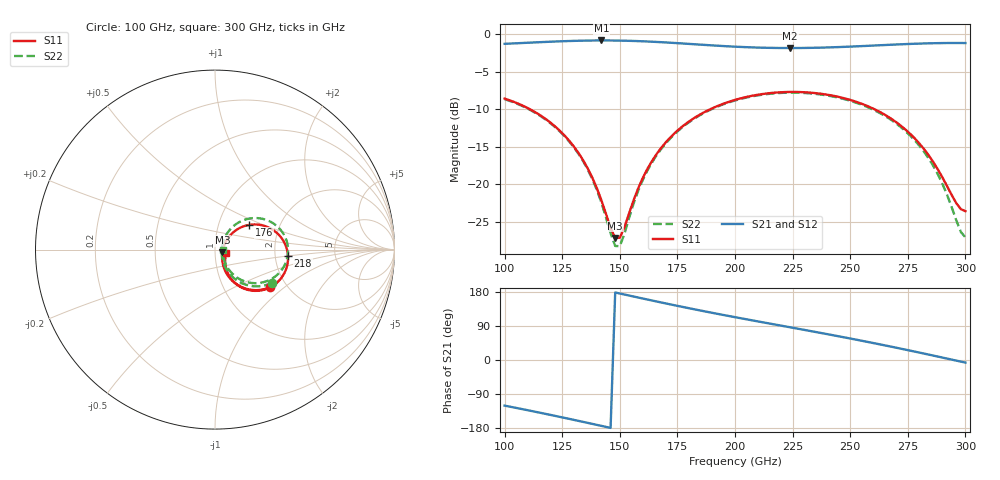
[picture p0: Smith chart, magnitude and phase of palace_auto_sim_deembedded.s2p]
! Created with skrf 1.11.0 (http://scikit-rf.org).
# GHz S DB R 50.0
!freq dBS11 angS11 dBS21 angS21 dBS12 angS12 dBS22 angS22
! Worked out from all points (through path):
!   101 points, 100 GHz to 300 GHz, reference 50 ohm
!   highest |S21| = -0.84 dB at 142 GHz (marker M1); lowest = -1.9 dB at 224 GHz (marker M2)
!   group delay of S21, straight-line fit = 3.37 ps
!   lowest |S11| = -27.2 dB at 148 GHz (marker M3), VSWR 1.09, Z = 54.2 - j1.71 ohm
!   |S11| at or under -10 dB: 110.9 GHz to 189.4 GHz (78.47 GHz wide, 52.3 % of centre); 260.4 GHz to end of sweep
!   |S22| runs from -28.3 to -7.8 dB; largest |S21 - S12| = 1e-13
!   S11 on the Smith chart (normalised r, x): 100 GHz: 1.65, -0.80; 176 GHz: 1.40, +0.41; 218 GHz: 2.36, -0.19; 300 GHz: 1.14, -0.04
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100  -8.60 -34.3  -1.29 -120.4  -1.29 -120.4  -8.68 -29.9
120  -11.82 -54.5  -1.01 -145.0  -1.01 -145.0  -11.91 -49.6
128  -14.20 -61.3  -0.92 -155.3  -0.92 -155.3  -14.30 -56.3
134  -16.78 -64.3  -0.87 -163.2  -0.87 -163.2  -16.90 -59.5
142  -22.14 -58.3  -0.84 -173.8  -0.84 -173.8  -22.45 -54.7
148  -27.18 -21.1  -0.86 178.1  -0.86 178.1  -28.24 -16.2
150  -27.15 1.1  -0.87 175.5  -0.87 175.5  -28.27 9.2
160  -19.16 42.8  -0.96 162.2  -0.96 162.2  -19.43 53.0
168  -15.15 41.8  -1.08 151.8  -1.08 151.8  -15.30 51.4
176  -12.60 36.0  -1.22 141.6  -1.22 141.6  -12.71 45.5
188  -10.20 25.0  -1.46 127.0  -1.46 127.0  -10.28 34.6
200  -8.77 13.2  -1.67 113.0  -1.67 113.0  -8.85 23.0
218  -7.79 -4.7  -1.84 92.9  -1.84 92.9  -7.88 5.3
224  -7.71 -10.7  -1.85 86.2  -1.85 86.2  -7.80 -0.6
234  -7.84 -20.7  -1.82 75.1  -1.82 75.1  -7.94 -10.4
252  -8.96 -38.5  -1.64 54.4  -1.64 54.4  -9.09 -28.3
268  -11.32 -53.3  -1.41 34.9  -1.41 34.9  -11.49 -43.7
276  -13.29 -59.1  -1.31 24.8  -1.31 24.8  -13.52 -50.5
284  -16.13 -61.6  -1.23 14.4  -1.23 14.4  -16.54 -54.9
290  -19.09 -57.5  -1.19 6.4  -1.19 6.4  -19.94 -53.5
296  -22.52 -39.6  -1.18 -1.5  -1.18 -1.5  -24.78 -36.8
300  -23.61 -15.5  -1.19 -6.9  -1.19 -6.9  -27.10 -3.1
